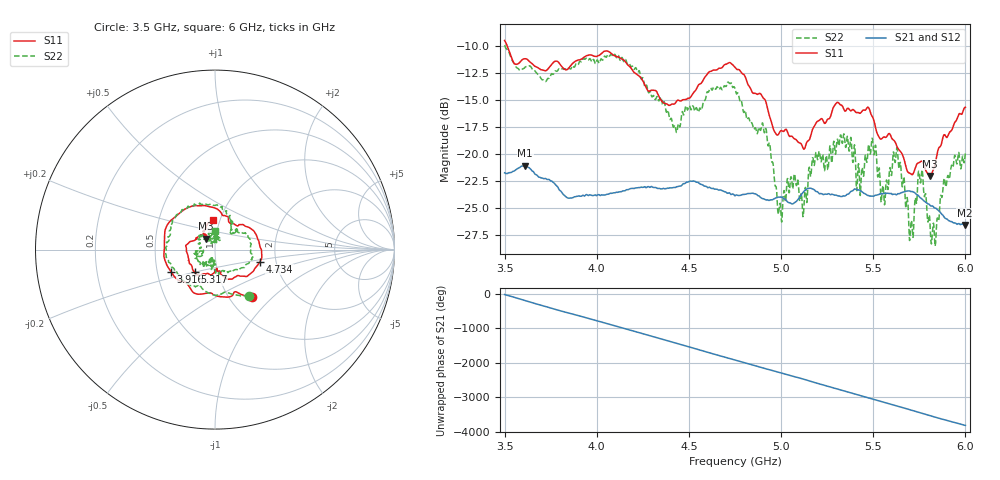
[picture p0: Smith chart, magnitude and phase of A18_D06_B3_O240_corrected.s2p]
! Created with skrf 1.9.0 (http://scikit-rf.org).
# Hz S RI R 50.0
!freq ReS11 ImS11 ReS21 ImS21 ReS12 ImS12 ReS22 ImS22
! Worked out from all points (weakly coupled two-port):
!   1601 points, 3.5 GHz to 6 GHz, reference 50 ohm
!   highest |S21| = -21.07 dB at 3.611 GHz (marker M1); lowest = -26.6 dB at 5.995 GHz (marker M2)
!   lowest |S11| = -22.0 dB at 5.809 GHz (marker M3), VSWR 1.17, Z = 44.9 + j5.59 ohm
!   |S11| at or under -10 dB: 3.514 GHz to end of sweep
!   |S22| runs from -28.5 to -9.9 dB; largest |S21 - S12| = 0.00096
!   S11 on the Smith chart (normalised r, x): 3.5 GHz: 1.27, -0.75; 3.916 GHz: 0.59, -0.16; 4.734 GHz: 1.65, -0.24; 5.317 GHz: 0.77, -0.20; 6 GHz: 0.93, +0.31
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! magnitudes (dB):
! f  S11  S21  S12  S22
! 3.5 GHz  -9.5  -21.7  -21.7  -9.9
! 3.611 GHz  -11.2  -21.1  -21.1  -12.0
! 3.916 GHz  -11.2  -23.9  -23.9  -11.5
! 3.917 GHz  -11.2  -23.9  -23.9  -11.5
! 4.334 GHz  -14.6  -23.2  -23.1  -15.0
! 4.427 GHz  -15.3  -23.1  -23.1  -17.5
! 4.734 GHz  -11.7  -23.7  -23.7  -13.7
! 4.75 GHz  -12.0  -23.9  -23.8  -13.9
! 4.909 GHz  -14.9  -24.2  -24.1  -18.0
! 4.994 GHz  -17.9  -24.0  -23.9  -24.6
! 5.167 GHz  -17.9  -23.2  -23.2  -20.8
! 5.317 GHz  -15.4  -23.9  -23.8  -18.8
! 5.42 GHz  -16.2  -23.3  -23.3  -20.9
! 5.486 GHz  -16.2  -23.9  -23.8  -19.9
! 5.552 GHz  -18.5  -23.7  -23.6  -23.0
! 5.584 GHz  -18.1  -23.6  -23.6  -22.5
! 5.636 GHz  -19.5  -23.7  -23.6  -20.9
! 5.706 GHz  -21.9  -23.5  -23.4  -26.1
! 5.756 GHz  -20.7  -24.1  -24.0  -22.7
! 5.809 GHz  -22.0  -24.8  -24.7  -27.0
! 5.995 GHz  -15.7  -26.6  -26.5  -20.7
! 6 GHz  -15.7  -26.5  -26.5  -19.8
